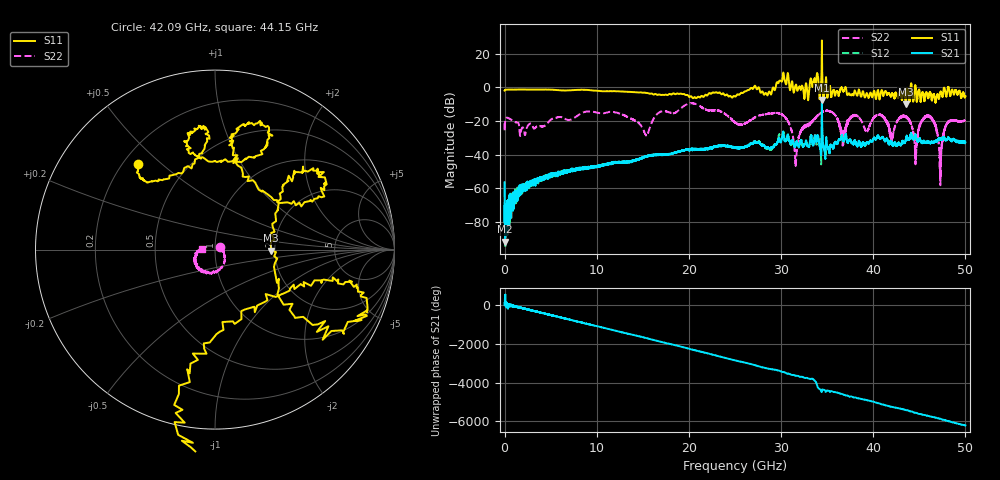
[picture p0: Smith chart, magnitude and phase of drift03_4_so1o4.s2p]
!Created with skrf (http://scikit-rf.org).
# Hz S RI R 50.0
!freq ReS11 ImS11 ReS21 ImS21 ReS12 ImS12 ReS22 ImS22
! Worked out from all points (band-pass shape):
!   10001 points, 300 kHz to 50 GHz, reference 50 ohm
!   highest |S21| = -7.56 dB at 34.43 GHz (marker M1); lowest = -91.5 dB at 45.3 MHz (marker M2)
!   |S21| within 3 dB of the highest: 34.42707 GHz to 34.43507 GHz (7.997 MHz wide, 0.0232 % of centre)
!   lowest |S11| = -10.1 dB at 43.53 GHz (marker M3), VSWR 1.91, Z = 95.2 - j1.14 ohm
!   |S11| at or under -10 dB: 43.52518 GHz to 43.53088 GHz (5.706 MHz wide, 0.0131 % of centre)
!   |S22| runs from -58.1 to -9.4 dB; largest |S21 - S12| = 0.12
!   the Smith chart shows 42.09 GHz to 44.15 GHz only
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300000  -0.7723 -0.1601  -0.000436 0.00146  -0.000109 0.000377  -0.0444 -0.0745
4.529973e7  -0.8268 0.0417  -2.27e-05 1.39e-05  0.000188 0.000254  0.0301 0.0844
1.525291e9  0.8523 0.0824  -0.000167 -0.000548  7.87e-05 -0.000818  -0.0291 0.0788
3.155281e9  -0.8532 -0.0218  0.000333 0.00163  0.000527 0.00157  0.0151 -0.0589
4.670272e9  0.8389 0.1403  -0.000282 -0.00235  -0.000248 -0.00228  0.0366 0.0793
8.33525e9  0.6673 -0.5166  -0.00374 -0.0011  -0.00373 -0.0011  0.1372 -0.0995
9.620242e9  -0.7928 -0.0881  0.00304 0.00326  0.00289 0.00335  -0.1806 -0.0502
1.132523e10  0.7603 0.0281  -0.00463 -0.00296  -0.0043 -0.00314  0.1845 0.0189
1.66702e10  -0.4017 0.447  0.00636 -0.00751  0.00644 -0.00759  0.0873 -0.1484
2.500015e10  -0.131 -0.5135  0.0135 0.00875  0.0137 0.00868  -0.0495 0.0737
2.676014e10  0.0302 0.9601  -0.0194 -0.00718  -0.0199 -0.0079  0.0624 -0.0899
2.821013e10  -0.1893 -0.5925  0.0176 0.00168  0.0178 0.00186  -0.1465 0.0558
2.955012e10  -1.079 0.9164  -0.0107 -0.0192  -0.0102 -0.0187  0.168 0.0434
3.011012e10  0.5245 1.431  -0.0294 0.0117  -0.0276 0.0119  0.1223 -0.0946
3.136011e10  0.0692 -0.7028  0.0213 -0.00123  0.0219 -0.00214  -0.0147 -0.0219
3.33351e10  -0.1727 1.301  -0.031 0.00423  -0.0298 0.00493  0.0861 -0.0405
3.443009e10  -20.69 -12.89  -0.1567 -0.3883  -0.187 -0.2752  0.0985 -0.1563
3.681508e10  0.7916 -0.052  0.0155 0.021  0.0151 0.0204  -0.00036 -0.0296
4.167005e10  -0.6398 0.1568  -0.021 -0.00104  -0.0212 -0.00116  -0.0419 0.05
4.353004e10  0.3115 -0.0054  0.026 -0.0102  0.0264 -0.0101  -0.105 -0.0848
4.824001e10  -0.7913 -0.2482  -0.014 0.027  -0.014 0.0263  -0.097 -0.0295
5e10  0.51 -0.1773  -0.00287 -0.0231  -0.00254 -0.0228  0.0872 -0.0542
